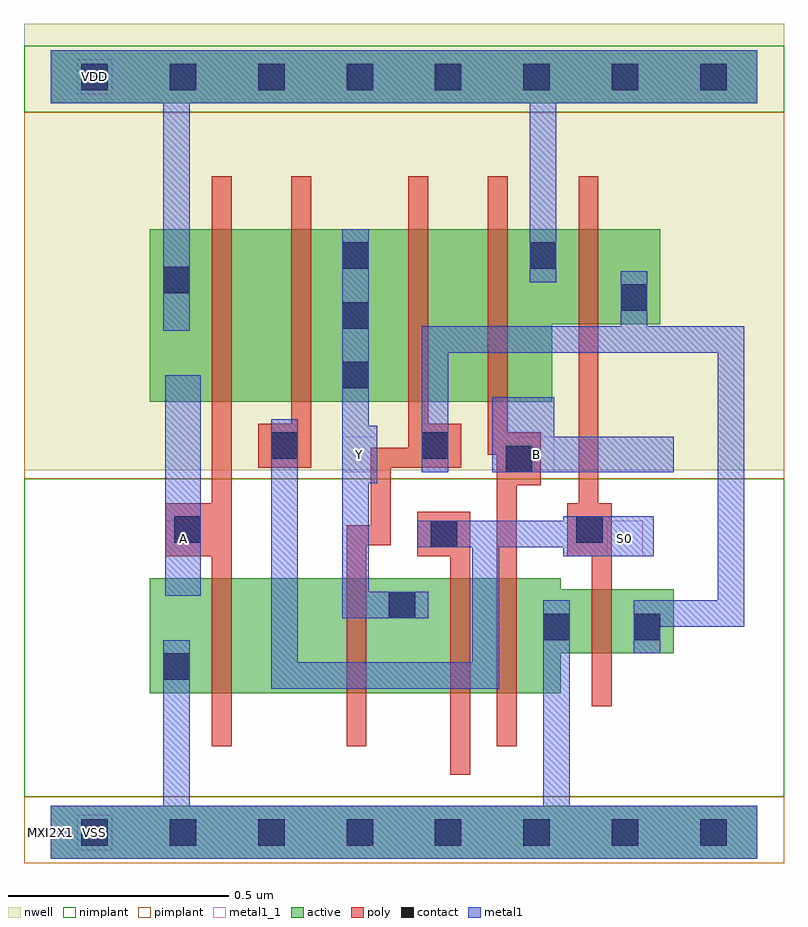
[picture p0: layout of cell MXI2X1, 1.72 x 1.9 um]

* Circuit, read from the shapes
.subckt MXI2X1 A B S0 VDD VSS Y
M1 n1 A VSS VSS nfet w=0.26u l=0.045u
M2 Y n2 n1 VSS nfet w=0.26u l=0.045u
M3 n3 S0 Y VSS nfet w=0.26u l=0.045u
M4 VSS B n3 VSS nfet w=0.26u l=0.045u
M5 n2 S0 VSS VSS nfet w=0.145u l=0.045u
M6 n4 A VDD VDD pfet w=0.39u l=0.045u
M7 Y S0 n4 VDD pfet w=0.39u l=0.045u
M8 n5 n2 Y VDD pfet w=0.39u l=0.045u
M9 VDD B n5 VDD pfet w=0.39u l=0.045u
M10 n2 S0 VDD VDD pfet w=0.215u l=0.045u
.ends

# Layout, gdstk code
import gdstk
lib = gdstk.Library(unit=1e-6, precision=5e-10)
def R(c, l, rs):  # rectangles x0, y0, x1, y1
    for r in rs: c.add(gdstk.rectangle(r[:2], r[2:], *l))
def A(c, l, x, y, w, h, nx, ny, dx, dy):  # array of equal rectangles
    R(c, l, [(x+i*dx, y+j*dy, x+i*dx+w, y+j*dy+h) for i in range(nx) for j in range(ny)])
def P(c, l, *ps):  # polygons
    for p in ps: c.add(gdstk.Polygon(p, *l))
active = (1, 0)
nwell = (2, 0)
poly = (3, 0)
nimplant = (4, 0)
pimplant = (5, 0)
contact = (6, 0)
metal1 = (7, 0)
metal1_1 = (7, 1)

mxi2x1 = lib.new_cell('MXI2X1')
R(mxi2x1, active, [(0,-0.06,1.6,0.06), (0,1.65,1.6,1.77)])
P(mxi2x1, active, [(0.225,1.365),(1.38,1.365),(1.38,1.15),(1.135,1.15),(1.135,0.975),(0.225,0.975)],
  [(0.225,0.575),(1.155,0.575),(1.155,0.55),(1.41,0.55),(1.41,0.405),(1.155,0.405),(1.155,0.315),(0.225,0.315)])
R(mxi2x1, nwell, [(-0.06,0.82,1.66,1.83)])
P(mxi2x1, poly, [(0.365,1.485),(0.41,1.485),(0.41,0.195),(0.365,0.195),(0.365,0.625),(0.26,0.625),(0.26,0.745),(0.365,0.745)],
  [(0.545,1.485),(0.59,1.485),(0.59,0.825),(0.47,0.825),(0.47,0.925),(0.545,0.925)],
  [(0.81,1.485),(0.855,1.485),(0.855,0.925),(0.93,0.925),(0.93,0.825),(0.77,0.825),(0.77,0.65),(0.715,0.65),(0.715,0.195),(0.67,0.195),(0.67,0.695),(0.725,0.695),(0.725,0.87),(0.81,0.87)],
  [(0.99,1.485),(1.035,1.485),(1.035,0.905),(1.11,0.905),(1.11,0.785),(1.055,0.785),(1.055,0.195),(1.01,0.195),(1.01,0.855),(0.99,0.855)],
  [(1.195,1.485),(1.24,1.485),(1.24,0.745),(1.27,0.745),(1.27,0.285),(1.225,0.285),(1.225,0.625),(1.17,0.625),(1.17,0.745),(1.195,0.745)],
  [(0.83,0.725),(0.95,0.725),(0.95,0.13),(0.905,0.13),(0.905,0.625),(0.83,0.625)])
R(mxi2x1, nimplant, [(-0.06,0.08,1.66,0.8), (-0.06,1.63,1.66,1.78)])
R(mxi2x1, pimplant, [(-0.06,-0.07,1.66,0.08), (-0.06,0.8,1.66,1.63)])
A(mxi2x1, contact, 0.07, -0.03, 0.06, 0.06, 8, 2, 0.2, 1.71)
A(mxi2x1, contact, 0.66, 1.005, 0.06, 0.06, 1, 3, 0, 0.135)
R(mxi2x1, contact, [(0.255,0.345,0.315,0.405), (1.115,0.435,1.175,0.495), (1.32,0.435,1.38,0.495), (0.765,0.485,0.825,0.545), (0.86,0.645,0.92,0.705), (0.28,0.655,0.34,0.715), (1.19,0.655,1.25,0.715), (1.03,0.815,1.09,0.875), (0.5,0.845,0.56,0.905), (0.84,0.845,0.9,0.905), (1.29,1.18,1.35,1.24), (0.255,1.22,0.315,1.28), (1.085,1.275,1.145,1.335)])
R(mxi2x1, metal1, [(0.26,0.535,0.34,1.035)])
P(mxi2x1, metal1, [(0,1.77),(1.6,1.77),(1.6,1.65),(1.145,1.65),(1.145,1.245),(1.085,1.245),(1.085,1.65),(0.315,1.65),(0.315,1.135),(0.255,1.135),(0.255,1.65),(0,1.65)],
  [(0.66,1.365),(0.72,1.365),(0.72,0.92),(0.74,0.92),(0.74,0.79),(0.72,0.79),(0.72,0.545),(0.855,0.545),(0.855,0.485),(0.66,0.485)],
  [(1.29,1.27),(1.35,1.27),(1.35,1.145),(1.57,1.145),(1.57,0.465),(1.38,0.465),(1.38,0.405),(1.32,0.405),(1.32,0.525),(1.51,0.525),(1.51,1.085),(0.9,1.085),(0.9,0.815),(0.84,0.815),(0.84,1.145),(1.29,1.145)],
  [(0.5,0.935),(0.56,0.935),(0.56,0.385),(0.955,0.385),(0.955,0.645),(0.83,0.645),(0.83,0.705),(1.16,0.705),(1.16,0.715),(1.365,0.715),(1.365,0.625),(1.16,0.625),(1.16,0.645),(1.015,0.645),(1.015,0.325),(0.5,0.325)],
  [(0.255,0.435),(0.315,0.435),(0.315,0.06),(1.115,0.06),(1.115,0.525),(1.175,0.525),(1.175,0.06),(1.6,0.06),(1.6,-0.06),(0,-0.06),(0,0.06),(0.255,0.06)],
  [(1,0.985),(1.14,0.985),(1.14,0.895),(1.41,0.895),(1.41,0.815),(1,0.815)])
R(mxi2x1, metal1_1, [(0.06,-0.04,0.14,0.04), (0.26,0.625,0.34,0.705), (1.26,0.625,1.34,0.705), (0.66,0.815,0.74,0.895), (1.06,0.815,1.14,0.895), (0.06,1.67,0.14,1.75)])
mxi2x1.add(gdstk.Label('Y', (0.7,0.855), layer=7, texttype=1))
mxi2x1.add(gdstk.Label('S0', (1.3,0.665), layer=7, texttype=1))
mxi2x1.add(gdstk.Label('B', (1.1,0.855), layer=7, texttype=1))
mxi2x1.add(gdstk.Label('A', (0.3,0.665), layer=7, texttype=1))
mxi2x1.add(gdstk.Label('VDD', (0.1,1.71), layer=7, texttype=1))
mxi2x1.add(gdstk.Label('VSS', (0.1,0), layer=7, texttype=1))
mxi2x1.add(gdstk.Label('MXI2X1', (0,0), layer=63, texttype=0))

lib.write_gds('MXI2X1.gds')
